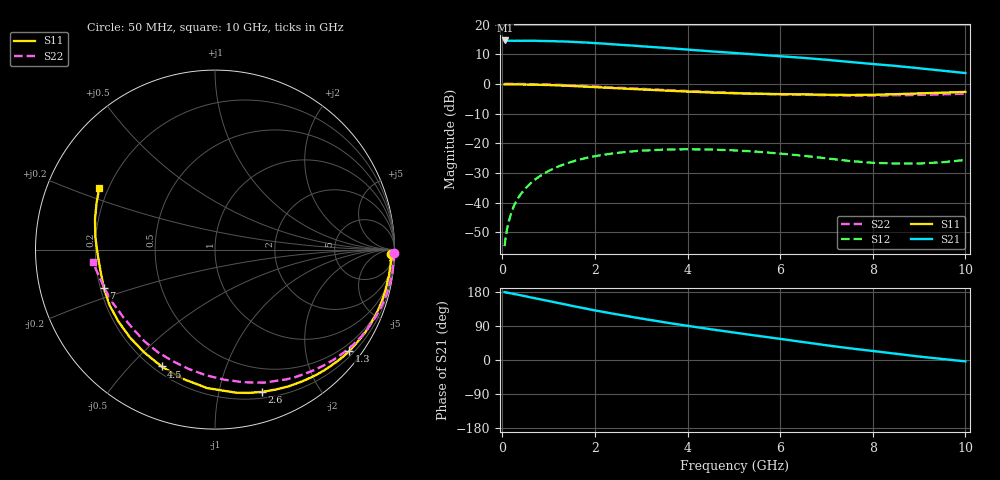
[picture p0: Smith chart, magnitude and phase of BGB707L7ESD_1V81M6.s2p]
!  Infineon Technologies AG
!  BGB707L7ESD
!  Vce = 1.8V, Ic = 1.6mA
!  DATUM: 30.06.2009 10:14:58
# GHz  S  MA  R  50
!f  S11  S21  S12  S22
!GHz  Mag  Ang  Mag  Ang  Mag  Ang  Mag  Ang
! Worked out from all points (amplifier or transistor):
!   52 points, 50 MHz to 10 GHz, reference 50 ohm
!   highest |S21| = 14.6 dB at 60 MHz (marker M1)
!   |S21| within 3 dB of that: start of sweep to 3.939 GHz
!   unconditionally stable (mu >= 1): 7.221 GHz to end of sweep
!   at 130 MHz: K = -0.02, MSG = 30.7 dB, |S12| = -46.7 dB
!   at 1.4 GHz: K = 0.04, MSG = 20.5 dB, |S12| = -26.8 dB
!   at 10 GHz: K = 1.27, MAG = 11.5 dB, |S12| = -25.6 dB
!   S11 on the Smith chart (normalised r, x): 50 MHz: 42, -56; 1.3 GHz: 0.32, -2.95; 2.6 GHz: 0.26, -1.35; 4.5 GHz: 0.23, -0.62; 7 GHz: 0.21, -0.16; 10 GHz: 0.16, +0.24
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0.05  0.9828 -1.3  5.286 179.1  0.001839 88.6  0.9993 -1.0
0.06  0.9837 -1.8  5.388 178.9  0.002115 92.7  0.9992 -1.2
0.08  0.9754 -2.0  5.3 178.1  0.002763 86.6  0.9996 -1.7
0.09  0.9818 -2.5  5.34 178.5  0.003033 87.9  0.9992 -1.9
0.13  0.9801 -3.8  5.347 177.2  0.004601 88.0  0.9991 -2.8
0.2  0.9812 -5.8  5.334 175.7  0.006928 86.2  0.9979 -4.4
0.4  0.9774 -11.4  5.308 170.8  0.01391 82.0  0.9948 -8.7
0.7  0.9697 -20.1  5.321 163.1  0.02421 75.7  0.9866 -15.3
1.3  0.937 -37.1  5.185 148.2  0.04305 63.1  0.9555 -28.2
1.8  0.8982 -50.9  4.975 135.8  0.05608 52.8  0.9187 -38.6
2.2  0.8655 -61.6  4.762 126.5  0.06416 45.2  0.8861 -46.6
2.6  0.8351 -71.7  4.523 117.9  0.07032 38.3  0.8541 -54.1
3  0.8061 -81.6  4.304 109.6  0.07481 31.9  0.8245 -61.3
3.5  0.7726 -93.3  4.044 99.5  0.07812 24.5  0.7899 -69.8
4  0.7415 -104.2  3.783 90.2  0.07911 17.9  0.7563 -77.8
4.5  0.7159 -114.6  3.536 81.2  0.07829 12.2  0.7269 -85.8
5.5  0.6813 -134.1  3.114 64.0  0.07187 2.9  0.6812 -102.3
6.5  0.6643 -152.1  2.741 47.3  0.06144 -1.5  0.6545 -118.9
7  0.6553 -160.9  2.547 38.8  0.05558 -1.4  0.6449 -127.4
8.5  0.67 174.2  2.003 16.5  0.04547 13.2  0.6417 -152.0
9  0.6899 165.7  1.832 9.1  0.04549 20.0  0.6521 -160.2
10  0.7314 151.8  1.523 -3.6  0.05227 31.9  0.6854 -174.3
